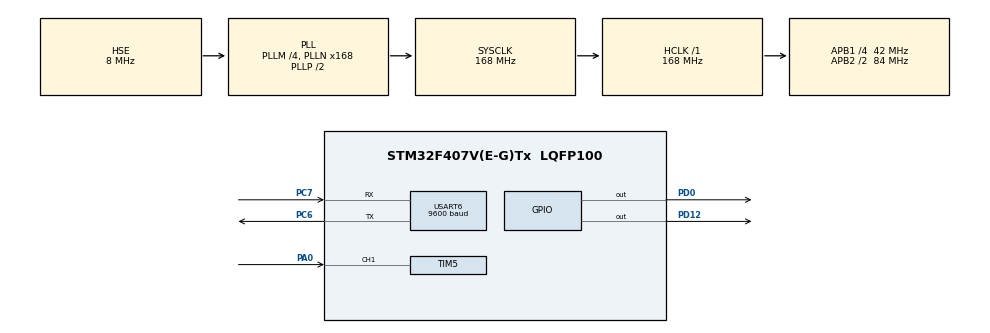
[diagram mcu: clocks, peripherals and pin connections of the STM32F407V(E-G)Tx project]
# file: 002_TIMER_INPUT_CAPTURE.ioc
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Dma.Request0=TIM1_UP
Dma.Request1=TIM5_CH1
Dma.TIM1_UP.0.Direction=DMA_MEMORY_TO_PERIPH
Dma.TIM1_UP.0.FIFOMode=DMA_FIFOMODE_DISABLE
Dma.TIM1_UP.0.Instance=DMA2_Stream5
Dma.TIM1_UP.0.MemDataAlignment=DMA_MDATAALIGN_WORD
Dma.TIM1_UP.0.MemInc=DMA_MINC_ENABLE
Dma.TIM1_UP.0.Mode=DMA_CIRCULAR
Dma.TIM1_UP.0.PeriphDataAlignment=DMA_PDATAALIGN_WORD
Dma.TIM1_UP.0.PeriphInc=DMA_PINC_DISABLE
Dma.TIM1_UP.0.Priority=DMA_PRIORITY_LOW
Dma.TIM5_CH1.1.Direction=DMA_PERIPH_TO_MEMORY
Dma.TIM5_CH1.1.FIFOMode=DMA_FIFOMODE_DISABLE
Dma.TIM5_CH1.1.Instance=DMA1_Stream2
Dma.TIM5_CH1.1.MemDataAlignment=DMA_MDATAALIGN_WORD
Dma.TIM5_CH1.1.MemInc=DMA_MINC_ENABLE
Dma.TIM5_CH1.1.Mode=DMA_CIRCULAR
Dma.TIM5_CH1.1.PeriphDataAlignment=DMA_PDATAALIGN_WORD
Dma.TIM5_CH1.1.PeriphInc=DMA_PINC_DISABLE
Dma.TIM5_CH1.1.Priority=DMA_PRIORITY_LOW
Mcu.Family=STM32F4
Mcu.Name=STM32F407V(E-G)Tx
Mcu.Package=LQFP100
NVIC.DMA1_Stream2_IRQn=true\:0\:0\:false\:false\:true\:false\:true
NVIC.DMA2_Stream5_IRQn=true\:0\:0\:false\:false\:true\:false\:true
NVIC.PriorityGroup=NVIC_PRIORITYGROUP_0
PA0-WKUP.Signal=S_TIM5_CH1
PC6.Mode=Asynchronous
PC6.Signal=USART6_TX
PC7.Mode=Asynchronous
PC7.Signal=USART6_RX
PD0.Signal=GPIO_Output
PD12.Signal=GPIO_Output
PH0-OSC_IN.Mode=HSE-External-Oscillator
PH0-OSC_IN.Signal=RCC_OSC_IN
PH1-OSC_OUT.Mode=HSE-External-Oscillator
PH1-OSC_OUT.Signal=RCC_OSC_OUT
ProjectManager.HeapSize=0x200
ProjectManager.StackSize=0x400
ProjectManager.TargetToolchain=STM32CubeIDE
RCC.48MHZClocksFreq_Value=48000000
RCC.AHBFreq_Value=168000000
RCC.APB1CLKDivider=RCC_HCLK_DIV4
RCC.APB1Freq_Value=42000000
RCC.APB1TimFreq_Value=84000000
RCC.APB2CLKDivider=RCC_HCLK_DIV2
RCC.APB2Freq_Value=84000000
RCC.APB2TimFreq_Value=168000000
RCC.CortexFreq_Value=168000000
RCC.HCLKFreq_Value=168000000
RCC.HSE_VALUE=8000000
RCC.HSI_VALUE=16000000
RCC.LSE_VALUE=32768
RCC.PLLM=4
RCC.PLLN=168
RCC.PLLQ=7
RCC.PLLSourceVirtual=RCC_PLLSOURCE_HSE
RCC.SYSCLKFreq_VALUE=168000000
RCC.SYSCLKSource=RCC_SYSCLKSOURCE_PLLCLK
RCC.VCOOutputFreq_Value=336000000
SH.S_TIM5_CH1.0=TIM5_CH1,Input_Capture1_from_TI1
TIM1.AutoReloadPreload=TIM_AUTORELOAD_PRELOAD_ENABLE
TIM1.Period=1679
TIM1.Prescaler=0
TIM5.Channel-Input_Capture1_from_TI1=TIM_CHANNEL_1
TIM5.Prescaler=0
USART6.BaudRate=9600
USART6.VirtualMode=VM_ASYNC
VP_TIM1_VS_ClockSourceINT.Mode=Internal
VP_TIM5_VS_ClockSourceINT.Mode=Internal
board=STM32F407G-DISC1

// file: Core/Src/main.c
/* USER CODE BEGIN Header */
/**
  ******************************************************************************
  * @file           : main.c
  * @brief          : Main program body
  ******************************************************************************
  * @attention
  *
  * Copyright (c) 2021 STMicroelectronics.
  * All rights reserved.
  *
  * This software is licensed under terms that can be found in the LICENSE file
  * in the root directory of this software component.
  * If no LICENSE file comes with this software, it is provided AS-IS.
  *
  ******************************************************************************
  */
/* USER CODE END Header */
#include "main.h"

/* USER CODE BEGIN Includes */
#include <stdio.h>
#include <string.h>
/* USER CODE END Includes */

TIM_HandleTypeDef htim1;
TIM_HandleTypeDef htim5;
DMA_HandleTypeDef hdma_tim1_up;
DMA_HandleTypeDef hdma_tim5_ch1;

UART_HandleTypeDef huart6;

/* USER CODE BEGIN PV */
uint32_t  odrVals[] = { 0x0,0xFFFF};
uint32_t captures[2];
volatile uint8_t  captureDone = 0;
int frequency = 0;
uint8_t capture_flag= 0;
/* USER CODE END PV */

void SystemClock_Config(void);
static void MX_GPIO_Init(void);
static void MX_DMA_Init(void);
static void MX_TIM1_Init(void);
static void MX_USART6_UART_Init(void);
static void MX_TIM5_Init(void);

int main(void)
{
  /* USER CODE BEGIN 1 */
	uint32_t diffCapture = 0;
	  char msg[30];
  /* USER CODE END 1 */

  /* MCU Configuration--------------------------------------------------------*/

  /* Reset of all peripherals, Initializes the Flash interface and the Systick. */
  HAL_Init();

  /* Configure the system clock */
  SystemClock_Config();

  /* Initialize all configured peripherals */
  MX_GPIO_Init();
  MX_DMA_Init();
  MX_TIM1_Init();
  MX_USART6_UART_Init();
  MX_TIM5_Init();
  /* USER CODE BEGIN 2 */
  HAL_TIM_Base_Start(&htim1);
  HAL_DMA_Start(&hdma_tim1_up, (uint32_t) odrVals, (uint32_t) &GPIOD->ODR, 2);
  __HAL_TIM_ENABLE_DMA(&htim1, TIM_DMA_UPDATE);

  HAL_TIM_IC_Start_DMA(&htim5, TIM_CHANNEL_1, (uint32_t*) captures, 2);
  /* USER CODE END 2 */

  /* Infinite loop */
  while (1)
  {

    /* USER CODE BEGIN 3 */
	  if (captureDone != 0) {
	        if (captures[1] >= captures[0])
	          diffCapture = captures[1] - captures[0];
	        else
	          diffCapture = (htim5.Instance->ARR - captures[0]) + captures[1];

	        frequency = 84000000/diffCapture;
	        sprintf(msg, "Input frequency: %d\r\n", frequency);
	        HAL_UART_Transmit(&huart6, (uint8_t*) msg, strlen(msg), HAL_MAX_DELAY);
	        captureDone = 0;
	      }
	  HAL_Delay(100);
  }
  /* USER CODE END 3 */
}

void SystemClock_Config(void)
{
  RCC_OscInitTypeDef RCC_OscInitStruct = {0};
  RCC_ClkInitTypeDef RCC_ClkInitStruct = {0};

  /** Configure the main internal regulator output voltage
  */
  __HAL_RCC_PWR_CLK_ENABLE();
  __HAL_PWR_VOLTAGESCALING_CONFIG(PWR_REGULATOR_VOLTAGE_SCALE1);
  /** Initializes the RCC Oscillators according to the specified parameters
  * in the RCC_OscInitTypeDef structure.
  */
  RCC_OscInitStruct.OscillatorType = RCC_OSCILLATORTYPE_HSE;
  RCC_OscInitStruct.HSEState = RCC_HSE_ON;
  RCC_OscInitStruct.PLL.PLLState = RCC_PLL_ON;
  RCC_OscInitStruct.PLL.PLLSource = RCC_PLLSOURCE_HSE;
  RCC_OscInitStruct.PLL.PLLM = 4;
  RCC_OscInitStruct.PLL.PLLN = 168;
  RCC_OscInitStruct.PLL.PLLP = RCC_PLLP_DIV2;
  RCC_OscInitStruct.PLL.PLLQ = 7;
  if (HAL_RCC_OscConfig(&RCC_OscInitStruct) != HAL_OK)
  {
    Error_Handler();
  }
  /** Initializes the CPU, AHB and APB buses clocks
  */
  RCC_ClkInitStruct.ClockType = RCC_CLOCKTYPE_HCLK|RCC_CLOCKTYPE_SYSCLK
                              |RCC_CLOCKTYPE_PCLK1|RCC_CLOCKTYPE_PCLK2;
  RCC_ClkInitStruct.SYSCLKSource = RCC_SYSCLKSOURCE_PLLCLK;
  RCC_ClkInitStruct.AHBCLKDivider = RCC_SYSCLK_DIV1;
  RCC_ClkInitStruct.APB1CLKDivider = RCC_HCLK_DIV4;
  RCC_ClkInitStruct.APB2CLKDivider = RCC_HCLK_DIV2;

  if (HAL_RCC_ClockConfig(&RCC_ClkInitStruct, FLASH_LATENCY_5) != HAL_OK)
  {
    Error_Handler();
  }
}

static void MX_TIM1_Init(void)
{

  TIM_ClockConfigTypeDef sClockSourceConfig = {0};
  TIM_MasterConfigTypeDef sMasterConfig = {0};

  htim1.Instance = TIM1;
  htim1.Init.Prescaler = 0;
  htim1.Init.CounterMode = TIM_COUNTERMODE_UP;
  htim1.Init.Period = 1679;
  htim1.Init.ClockDivision = TIM_CLOCKDIVISION_DIV1;
  htim1.Init.RepetitionCounter = 0;
  htim1.Init.AutoReloadPreload = TIM_AUTORELOAD_PRELOAD_ENABLE;
  if (HAL_TIM_Base_Init(&htim1) != HAL_OK)
  {
    Error_Handler();
  }
  sClockSourceConfig.ClockSource = TIM_CLOCKSOURCE_INTERNAL;
  if (HAL_TIM_ConfigClockSource(&htim1, &sClockSourceConfig) != HAL_OK)
  {
    Error_Handler();
  }
  sMasterConfig.MasterOutputTrigger = TIM_TRGO_RESET;
  sMasterConfig.MasterSlaveMode = TIM_MASTERSLAVEMODE_DISABLE;
  if (HAL_TIMEx_MasterConfigSynchronization(&htim1, &sMasterConfig) != HAL_OK)
  {
    Error_Handler();
  }

}

static void MX_TIM5_Init(void)
{

  TIM_ClockConfigTypeDef sClockSourceConfig = {0};
  TIM_MasterConfigTypeDef sMasterConfig = {0};
  TIM_IC_InitTypeDef sConfigIC = {0};

  htim5.Instance = TIM5;
  htim5.Init.Prescaler = 0;
  htim5.Init.CounterMode = TIM_COUNTERMODE_UP;
  htim5.Init.Period = 4294967295;
  htim5.Init.ClockDivision = TIM_CLOCKDIVISION_DIV1;
  htim5.Init.AutoReloadPreload = TIM_AUTORELOAD_PRELOAD_DISABLE;
  if (HAL_TIM_Base_Init(&htim5) != HAL_OK)
  {
    Error_Handler();
  }
  sClockSourceConfig.ClockSource = TIM_CLOCKSOURCE_INTERNAL;
  if (HAL_TIM_ConfigClockSource(&htim5, &sClockSourceConfig) != HAL_OK)
  {
    Error_Handler();
  }
  if (HAL_TIM_IC_Init(&htim5) != HAL_OK)
  {
    Error_Handler();
  }
  sMasterConfig.MasterOutputTrigger = TIM_TRGO_RESET;
  sMasterConfig.MasterSlaveMode = TIM_MASTERSLAVEMODE_DISABLE;
  if (HAL_TIMEx_MasterConfigSynchronization(&htim5, &sMasterConfig) != HAL_OK)
  {
    Error_Handler();
  }
  sConfigIC.ICPolarity = TIM_INPUTCHANNELPOLARITY_RISING;
  sConfigIC.ICSelection = TIM_ICSELECTION_DIRECTTI;
  sConfigIC.ICPrescaler = TIM_ICPSC_DIV1;
  sConfigIC.ICFilter = 0;
  if (HAL_TIM_IC_ConfigChannel(&htim5, &sConfigIC, TIM_CHANNEL_1) != HAL_OK)
  {
    Error_Handler();
  }

}

static void MX_USART6_UART_Init(void)
{

  huart6.Instance = USART6;
  huart6.Init.BaudRate = 9600;
  huart6.Init.WordLength = UART_WORDLENGTH_8B;
  huart6.Init.StopBits = UART_STOPBITS_1;
  huart6.Init.Parity = UART_PARITY_NONE;
  huart6.Init.Mode = UART_MODE_TX_RX;
  huart6.Init.HwFlowCtl = UART_HWCONTROL_NONE;
  huart6.Init.OverSampling = UART_OVERSAMPLING_16;
  if (HAL_UART_Init(&huart6) != HAL_OK)
  {
    Error_Handler();
  }

}

static void MX_DMA_Init(void)
{

  /* DMA controller clock enable */
  __HAL_RCC_DMA2_CLK_ENABLE();
  __HAL_RCC_DMA1_CLK_ENABLE();

  /* DMA interrupt init */
  /* DMA1_Stream2_IRQn interrupt configuration */
  HAL_NVIC_SetPriority(DMA1_Stream2_IRQn, 0, 0);
  HAL_NVIC_EnableIRQ(DMA1_Stream2_IRQn);
  /* DMA2_Stream5_IRQn interrupt configuration */
  HAL_NVIC_SetPriority(DMA2_Stream5_IRQn, 0, 0);
  HAL_NVIC_EnableIRQ(DMA2_Stream5_IRQn);

}

static void MX_GPIO_Init(void)
{
  GPIO_InitTypeDef GPIO_InitStruct = {0};

  /* GPIO Ports Clock Enable */
  __HAL_RCC_GPIOH_CLK_ENABLE();
  __HAL_RCC_GPIOA_CLK_ENABLE();
  __HAL_RCC_GPIOD_CLK_ENABLE();
  __HAL_RCC_GPIOC_CLK_ENABLE();

  /*Configure GPIO pin Output Level */
  HAL_GPIO_WritePin(GPIOD, GPIO_PIN_12|GPIO_PIN_0, GPIO_PIN_RESET);

  /*Configure GPIO pins : PD12 PD0 */
  GPIO_InitStruct.Pin = GPIO_PIN_12|GPIO_PIN_0;
  GPIO_InitStruct.Mode = GPIO_MODE_OUTPUT_PP;
  GPIO_InitStruct.Pull = GPIO_NOPULL;
  GPIO_InitStruct.Speed = GPIO_SPEED_FREQ_LOW;
  HAL_GPIO_Init(GPIOD, &GPIO_InitStruct);

}

/* USER CODE BEGIN 4 */
void HAL_TIM_IC_CaptureCallback(TIM_HandleTypeDef *htim) {
  if (htim->Channel == HAL_TIM_ACTIVE_CHANNEL_1) {
	  capture_flag++;
	  if(capture_flag % 2 == 0)
	  {
		  captureDone = 1;
		  capture_flag =0;
	  }

  }
}
/* USER CODE END 4 */

void Error_Handler(void)
{
  __disable_irq();
  while (1)
  {
  }
}
